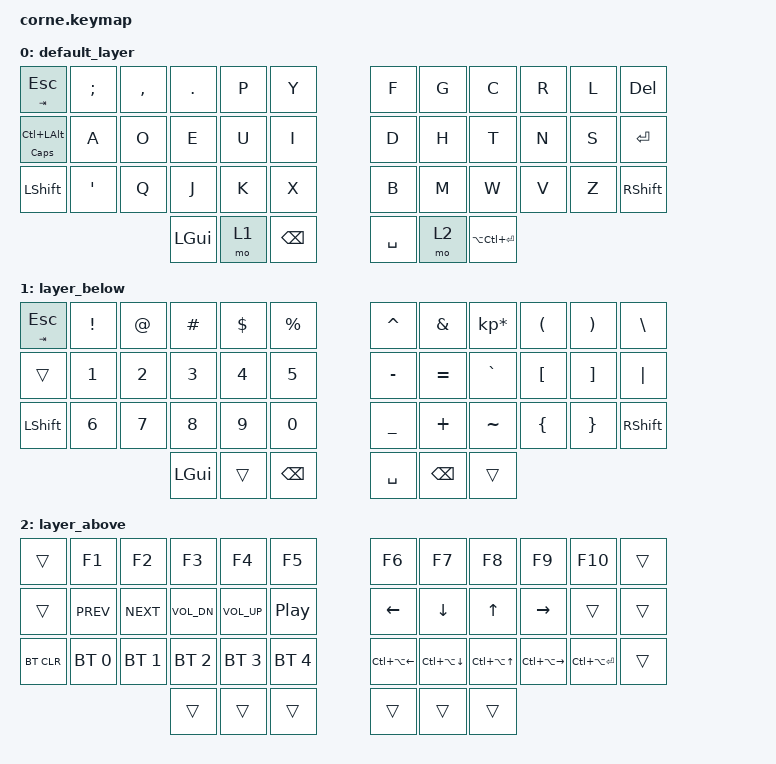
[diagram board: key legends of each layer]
/*
 * Copyright (c) 2020 The ZMK Contributors
 *
 * SPDX-License-Identifier: MIT
 */

#include <behaviors.dtsi>
#include <dt-bindings/zmk/bt.h>
#include <dt-bindings/zmk/keys.h>

/ {
    behaviors {
        tp: tap_preferred {
            compatible = "zmk,behavior-hold-tap";
            label = "TAP_PREFERRED";
            #binding-cells = <2>;
            tapping-term-ms = <150>;
            quick-tap-ms = <0>;
            flavor = "tap-preferred";
            bindings =
                <&kp>,
                <&kp>;
        };
    };

    keymap {
        compatible = "zmk,keymap";

        default_layer {
            // -----------------------------------------------------------------------------------------
            // | TAB  |  Q  |  W  |  E  |  R  |    T    |   |  Y  |  U   |  I  |  O  |  P  | ESC |
            // | CTRL |  A  |  S  |  D  |  F  |    G    |   |  H  |  J   |  K  |  L  |  ;  |  '   |
            // | SHFT |  Z  |  X  |  C  |  V  |    B    |   |  N  |  M   |  ,  |  .  |  /  | SHFT |
            //                    | GUI | LWR | ALT/ENT |   | HYPER/SPC | BKSP  | RSE |

            bindings = <
   &tp TAB ESCAPE  &kp SEMICOLON  &kp COMMA  &kp PERIOD  &kp P          &kp Y        &kp F  &kp G              &kp C  &kp R  &kp L  &kp DELETE
&tp CAPS LC(LALT)          &kp A      &kp O       &kp E  &kp U          &kp I        &kp D  &kp H              &kp T  &kp N  &kp S  &kp RETURN
        &kp LSHFT        &kp SQT      &kp Q       &kp J  &kp K          &kp X        &kp B  &kp M              &kp W  &kp V  &kp Z   &kp RSHFT
                                               &kp LGUI  &mo 1  &kp BACKSPACE    &kp SPACE  &mo 2  &kp LA(LC(ENTER))
            >;
        };

        layer_below {
            // -----------------------------------------------------------------------------------------
            // |      |  !  |  @  |  #  |  $  |    %     |   |  ^  |  &  |  *  |  (  |  )  |   \   |
            // |      |  1  |  2  |  3  |  4  |    5     |   |  -  |  =  |  `  |  [  |  ]  |  "|"  |
            // | SHFT |  6  |  7  |  8  |  9  |    0     |   |  _  |  +  |  ~  |  {  |  }  | RSHFT |
            //                     | GUI |     | ALT/ENT |   | HYPER/SPACE | BKSP |    |

            bindings = <
&tp TAB ESCAPE      &kp EXCL  &kp AT  &kp HASH  &kp DLLR      &kp PRCNT    &kp CARET   &kp AMPS  &kp KP_MULTIPLY  &kp LPAR  &kp RPAR   &kp BSLH
        &trans  &kp NUMBER_1  &kp N2    &kp N3    &kp N4         &kp N5    &kp MINUS  &kp EQUAL        &kp GRAVE  &kp LBKT  &kp RBKT   &kp PIPE
     &kp LSHFT        &kp N6  &kp N7    &kp N8    &kp N9         &kp N0    &kp UNDER   &kp PLUS        &kp TILDE  &kp LBRC  &kp RBRC  &kp RSHFT
                                      &kp LGUI    &trans  &kp BACKSPACE    &kp SPACE   &kp BSPC           &trans
            >;
        };

        layer_above {
            // -----------------------------------------------------------------------------------------
            // |       |  F1  |  F2  |  F3  |  F4  |  F5 |            |  F6  |  F7  |  F8  |  F9  |  F10  |   |
            // |       | Prev | Next | Vol - | Vol + | Play/Pause |   |      | LFT | DWN |  UP | RGT |     |     |
            // | BTCLR | BT1 | BT2 | BT3 | BT4 | BT5 |   |            |     |     |     |     |     |     |
            //                    |     |     |    |                  |     |     |     |

            bindings = <
    &trans        &kp F1        &kp F2        &kp F3        &kp F4        &kp F5                    &kp F6                  &kp F7                &kp F8                   &kp F9             &kp F10  &trans
    &trans    &kp C_PREV    &kp C_NEXT  &kp C_VOL_DN  &kp C_VOL_UP      &kp C_PP                  &kp LEFT                &kp DOWN                &kp UP                &kp RIGHT              &trans  &trans
&bt BT_CLR  &bt BT_SEL 0  &bt BT_SEL 1  &bt BT_SEL 2  &bt BT_SEL 3  &bt BT_SEL 4    &kp LC(LA(LEFT_ARROW))  &kp LC(LA(DOWN_ARROW))  &kp LC(LA(UP_ARROW))  &kp LC(LA(RIGHT_ARROW))  &kp LC(LA(RETURN))  &trans
                                              &trans        &trans        &trans                    &trans                  &trans                &trans
            >;
        };
    };
};
